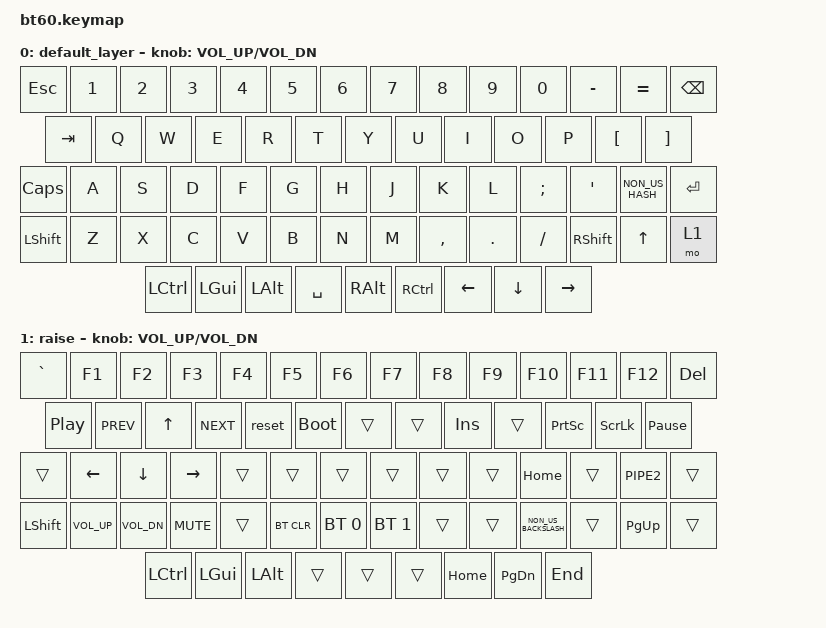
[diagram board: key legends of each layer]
#include <behaviors.dtsi>
#include <dt-bindings/zmk/keys.h>
#include <dt-bindings/zmk/bt.h>

/ {
	keymap {
		compatible = "zmk,keymap";

		default_layer {
				// ------------------------------------------------------------------------------------------
				// | ESC |  1  |  2  |  3  |  4  |  5  |  6  |  7  |  8  |  9  |  0  |  -  |  =  |   BKSP   |
				// | TAB  |  Q  |  W  |  E  |  R  |  T  |  Y  |  U  |  I  |  O  |  P  |  [  |  ]  |         |
				// | CAPS  |  A  |  S  |  D  |  F  |  G  |  H  |  J  |  K  |  L  |  ;  |  '  |  #   | ENTER |
				// |  SHIFT    |  Z  |  X  |  C  |  V  |  B  |  N  |  M  |  ,  |  .  | /   | SHFT | UP | FUNC  |
				// |  CTL  |  WIN  |  ALT  |            SPACE              | ALT | CTRL | LEFT | DOWN | RIGHT |
				// ------------------------------------------------------------------------------------------
			bindings = <
				&kp ESC &kp N1 &kp N2 &kp N3 &kp N4 &kp N5 &kp N6 &kp N7 &kp  N8   &kp  N9 &kp  N0  &kp MINUS &kp EQUAL &kp BSPC
				&kp TAB  &kp Q  &kp W  &kp E  &kp R  &kp T  &kp Y  &kp U  &kp  I    &kp  O  &kp  P   &kp LBKT &kp RBKT
				&kp CLCK  &kp A  &kp S  &kp D  &kp F  &kp G  &kp H  &kp J  &kp  K    &kp  L  &kp SEMI &kp SQT  &kp NON_US_HASH  &kp RET
				&kp LSHFT  &kp Z  &kp X  &kp C  &kp V  &kp B  &kp N  &kp M  &kp COMMA &kp DOT &kp FSLH    &kp RSHFT &kp UP   &mo 1
				&kp LCTRL &kp LGUI &kp LALT            &kp SPACE                          &kp RALT  &kp RCTRL &kp LEFT &kp DOWN &kp RIGHT
			>;
			sensor-bindings = <&inc_dec_kp C_VOL_UP C_VOL_DN>;
		};
		raise {
				// ------------------------------------------------------------------------------------------
				// | GRAVE | F1 | F2 | F3 | F4 | F5 | F6 | F7 | F8 | F9 | F10 | F11 | F12 |   DEL   |
				// | PLAY  | PRV |  UP  | NXT |  RST  | BOOT | - | - |  INS  | - | PSCRN | SLCK | PSBK | 
				// |   -   | LFT | DWN | RHT |  -  |  -  |  -  |  -  |  -  |  -  |  HOME  |  -  |  PIPE  | -  |
				// | SHIFT | VUP | VDN | MUTE | - | BT_CLR | BT 0 | BT 1 |  -  |  -  |  \  | - | PG_UP | -  |
				// |  CTL  |  WIN  |  ALT  |            SPACE              | ALT | CTRL | HOME | PG_DN | END |
				// ------------------------------------------------------------------------------------------
			bindings = <
				&kp GRAVE &kp F1 &kp F2 &kp F3 &kp F4 &kp F5 &kp F6 &kp F7 &kp  F8   &kp  F9 &kp  F10  &kp F11 &kp F12   &kp DEL
				&kp C_PLAY_PAUSE &kp C_PREV &kp UP &kp C_NEXT &reset &bootloader &trans &trans &kp INS &trans &kp PSCRN &kp SLCK &kp PAUSE_BREAK
				&trans    &kp LEFT &kp DOWN &kp RIGHT &trans &trans &trans &trans &trans &trans &kp HOME  &trans  &kp PIPE2 &trans
				&kp LSHFT &kp C_VOL_UP &kp C_VOL_DN &kp C_MUTE &trans &bt BT_CLR &bt BT_SEL 0 &bt BT_SEL 1 &trans &trans &kp NON_US_BACKSLASH &trans &kp PG_UP &trans
				&kp LCTRL &kp LGUI &kp LALT                           &trans                              &trans &trans &kp HOME &kp PG_DN &kp END
			>;
			sensor-bindings = <&inc_dec_kp C_VOL_UP C_VOL_DN>;
		};
	};
};
